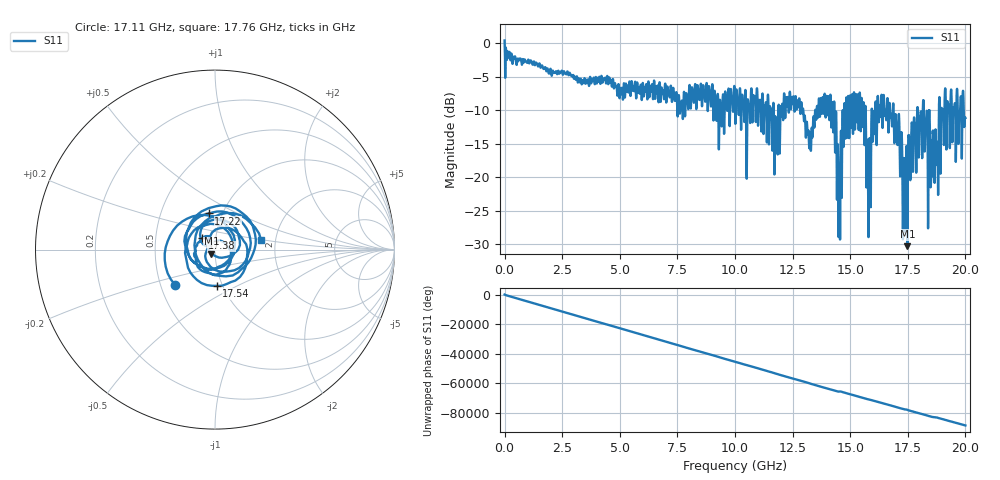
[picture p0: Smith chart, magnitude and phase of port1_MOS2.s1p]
! MS46122B
! 2250307/22442219
! 7/28/2025 2:00:32 PM
! C:\USERS\SPARKY\DOCUMENTS\VNA_DATA\JULY28_2025\3K\PORT1_MOS2.S1P
! CHANNEL.1
! TR.MEASUREMENT
! RAW.DATA
# GHZ S RI R 50.0
! FREQ.GHZ  S11RE  S11IM
!; PortSelection: Port_1
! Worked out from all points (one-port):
!   10001 points, 1 MHz to 20 GHz, reference 50 ohm
!   lowest |S11| = -30.3 dB at 17.48 GHz (marker M1), VSWR 1.06, Z = 47.9 - j2.19 ohm
!   |S11| at or under -10 dB: 12.96 GHz to 13.48 GHz (518.1 MHz wide, 3.92 % of centre); 16.88 GHz to 17.91 GHz (1.027 GHz wide, 5.9 % of centre); 18.43 GHz to 18.85 GHz (415.7 MHz wide, 2.23 % of centre) (the widest 3 of 88)
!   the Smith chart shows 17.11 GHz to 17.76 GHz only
!   S11 on the Smith chart (normalised r, x): 17.11 GHz: 0.59, -0.26; 17.22 GHz: 0.86, +0.36; 17.38 GHz: 0.86, +0.11; 17.54 GHz: 0.94, -0.40; 17.76 GHz: 1.67, +0.20
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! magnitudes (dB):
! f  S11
! 1 MHz  0.4
! 2.501 GHz  -4.2
! 5.001 GHz  -7.7
! 7.501 GHz  -10.4
! 10 GHz  -9.3
! 11.78 GHz  -13.4
! 12.5 GHz  -9.1
! 13.28 GHz  -14.6
! 14.06 GHz  -8.0
! 14.31 GHz  -8.7
! 14.51 GHz  -26.4
! 14.75 GHz  -8.9
! 15 GHz  -7.8
! 15.58 GHz  -8.8
! 15.8 GHz  -25.2
! 16.02 GHz  -10.4
! 16.28 GHz  -9.2
! 17.11 GHz  -10.6
! 17.22 GHz  -13.8
! 17.38 GHz  -20.5
! 17.48 GHz  -30.3
! 17.5 GHz  -18.3
! 17.54 GHz  -13.9
! 17.76 GHz  -11.6
! 18.25 GHz  -14.2
! 18.58 GHz  -14.5
! 19.05 GHz  -11.7
! 20 GHz  -11.2
